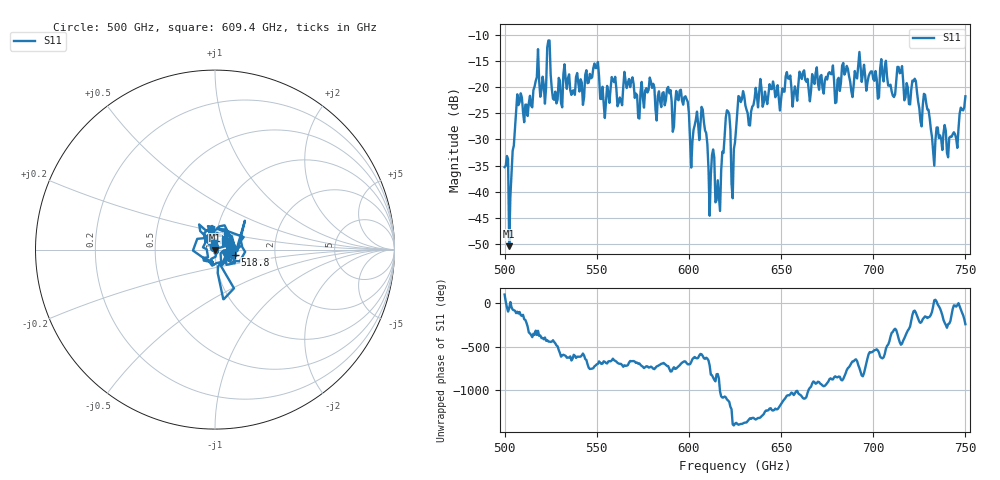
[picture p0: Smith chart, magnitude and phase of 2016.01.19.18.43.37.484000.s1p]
!Created with skrf (http://scikit-rf.org).
# GHz S RI R 50.0
!freq ReS11 ImS11
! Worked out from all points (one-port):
!   401 points, 500 GHz to 750 GHz, reference 50 ohm
!   lowest |S11| = -50.4 dB at 502.5 GHz (marker M1), VSWR 1.01, Z = 50.2 - j0.248 ohm
!   |S11| at or under -10 dB: start of sweep to end of sweep
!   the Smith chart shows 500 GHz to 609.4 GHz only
!   S11 on the Smith chart (normalised r, x): 500 GHz: 0.99, +0.03; 518.8 GHz: 1.25, -0.08; 609.4 GHz: 0.99, +0.07
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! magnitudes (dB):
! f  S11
! 500 GHz  -35.3
! 502.5 GHz  -50.4
! 507.5 GHz  -23.4
! 518.8 GHz  -18.8
! 524.4 GHz  -11.1
! 526.9 GHz  -22.4
! 531.2 GHz  -23.8
! 549.4 GHz  -16.3
! 553.1 GHz  -19.9
! 562.5 GHz  -22.0
! 593.8 GHz  -22.2
! 598.8 GHz  -22.3
! 601.9 GHz  -30.5
! 609.4 GHz  -28.8
! 615.6 GHz  -37.8
! 620.6 GHz  -24.4
! 623.8 GHz  -41.2
! 625 GHz  -30.6
! 628.1 GHz  -22.8
! 656.2 GHz  -23.7
! 687.5 GHz  -18.9
! 710.6 GHz  -21.6
! 714.4 GHz  -17.3
! 718.8 GHz  -20.0
! 728.8 GHz  -23.1
! 732.5 GHz  -32.2
! 745 GHz  -29.8
! 750 GHz  -21.7
